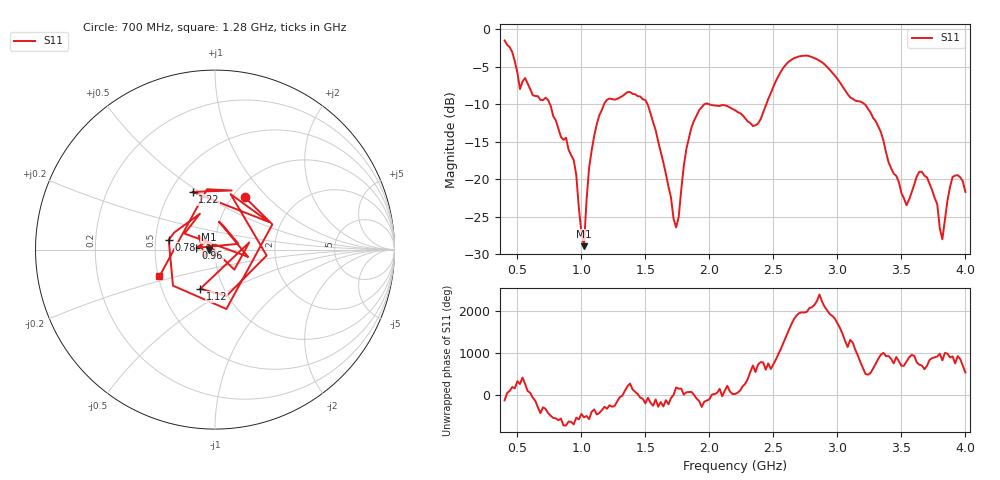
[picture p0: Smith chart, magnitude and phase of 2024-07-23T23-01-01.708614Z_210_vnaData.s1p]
!Created with skrf (http://scikit-rf.org).
# Hz S RI R 50.0
!freq ReS11 ImS11
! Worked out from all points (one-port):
!   181 points, 400 MHz to 4 GHz, reference 50 ohm
!   lowest |S11| = -28.9 dB at 1.02 GHz (marker M1), VSWR 1.07, Z = 46.5 - j0.113 ohm
!   |S11| at or under -10 dB: 1.517 GHz to 1.962 GHz (445.2 MHz wide, 25.6 % of centre); 1.996 GHz to 2.443 GHz (447.1 MHz wide, 20.1 % of centre); 3.212 GHz to end of sweep (the widest 3 of 4)
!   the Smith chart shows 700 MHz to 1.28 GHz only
!   S11 on the Smith chart (normalised r, x): 700 MHz: 1.13, +0.75; 780 MHz: 0.59, +0.07; 960 MHz: 0.81, +0.02; 1.12 GHz: 0.78, -0.36; 1.22 GHz: 0.64, +0.47; 1.28 GHz: 0.51, -0.17
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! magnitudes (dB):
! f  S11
! 400 MHz  -1.5
! 520 MHz  -8.0
! 700 MHz  -9.5
! 780 MHz  -11.6
! 860 MHz  -14.7
! 960 MHz  -19.5
! 1.02 GHz  -28.9
! 1.06 GHz  -18.5
! 1.12 GHz  -12.7
! 1.22 GHz  -9.2
! 1.28 GHz  -9.3
! 1.3 GHz  -9.1
! 1.52 GHz  -10.1
! 1.72 GHz  -25.3
! 1.76 GHz  -25.0
! 1.82 GHz  -16.0
! 1.92 GHz  -10.8
! 2.2 GHz  -10.8
! 2.38 GHz  -12.6
! 2.66 GHz  -3.9
! 2.88 GHz  -4.4
! 3.1 GHz  -9.1
! 3.3 GHz  -12.3
! 3.56 GHz  -22.7
! 3.7 GHz  -19.7
! 3.82 GHz  -28.0
! 3.9 GHz  -19.7
! 4 GHz  -21.7
